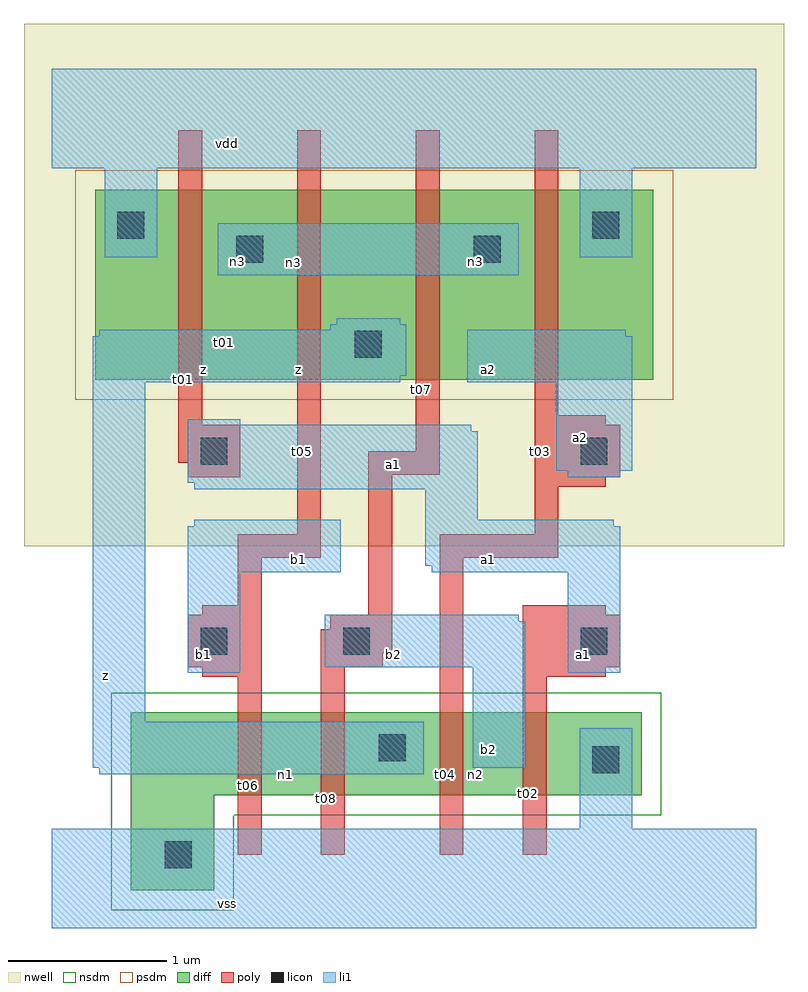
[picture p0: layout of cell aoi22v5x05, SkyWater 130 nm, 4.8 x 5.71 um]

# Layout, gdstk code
import gdstk
lib = gdstk.Library(unit=1e-6, precision=5e-09)
def R(c, l, rs):  # rectangles x0, y0, x1, y1
    for r in rs: c.add(gdstk.rectangle(r[:2], r[2:], *l))
def A(c, l, x, y, w, h, nx, ny, dx, dy):  # array of equal rectangles
    R(c, l, [(x+i*dx, y+j*dy, x+i*dx+w, y+j*dy+h) for i in range(nx) for j in range(ny)])
nwell = (64, 20)
diff = (65, 20)
poly = (66, 20)
licon = (66, 44)
li1 = (67, 20)
nsdm = (93, 44)
psdm = (94, 20)

aoi22v5x05 = lib.new_cell('aoi22v5x05')
R(aoi22v5x05, nwell, [(-0.3,2.4,4.5,5.7)])
R(aoi22v5x05, diff, [(0.375,0.225,0.9,1.35), (0.375,0.825,3.6,1.35), (0.15,3.45,3.675,4.65)])
R(aoi22v5x05, poly, [(1.05,0.45,1.2,2.475), (1.575,0.45,1.725,1.875), (2.325,0.45,2.475,2.475), (2.85,0.45,3,2.025), (0.825,1.575,1.2,2.025), (2.85,1.575,3.375,2.025), (0.735,1.635,1.2,1.965), (1.575,1.635,1.965,1.875), (1.635,1.635,1.965,1.965), (2.85,1.635,3.465,1.965), (1.575,1.725,2.025,1.875), (1.635,1.725,2.025,1.965), (1.875,1.725,2.025,3), (1.05,2.325,1.575,2.475), (1.425,2.325,1.575,5.025), (2.325,2.325,3.075,2.475), (2.925,2.325,3.075,5.025), (2.925,2.775,3.375,3.225), (0.735,2.835,1.065,3.165), (2.925,2.835,3.465,3.165), (1.875,2.85,2.325,3), (2.175,2.85,2.325,5.025), (0.675,2.925,1.065,3.165), (0.675,2.925,0.825,5.025)])
R(aoi22v5x05, licon, [(0.59,0.365,0.76,0.535), (3.29,0.965,3.46,1.135), (1.94,1.04,2.11,1.21), (0.815,1.715,0.985,1.885), (1.715,1.715,1.885,1.885), (3.215,1.715,3.385,1.885), (0.815,2.915,0.985,3.085), (3.215,2.915,3.385,3.085), (1.79,3.59,1.96,3.76), (1.04,4.19,1.21,4.36), (2.54,4.19,2.71,4.36), (0.29,4.34,0.46,4.51), (3.29,4.34,3.46,4.51)])
A(aoi22v5x05, li1, 2.575, 1.035, 0.25, 0.33, 1, 3, 0, 1.2)
A(aoi22v5x05, li1, 0.775, 1.635, 0.25, 0.33, 3, 1, 1.2, 0)
A(aoi22v5x05, li1, 1.375, 2.235, 0.25, 0.33, 1, 3, 0, 0.6)
R(aoi22v5x05, li1, [(-0.125,-0.015,4.325,0.615), (-0.125,-0.015,4.325,0.615), (3.21,-0.015,3.54,1.25), (0.175,0.96,0.465,3.765), (0.175,0.96,2.225,1.29), (0.135,1,0.465,3.725), (0.135,1,2.225,1.29), (2.535,1,2.825,1.965), (2.535,1,2.865,1.925), (0.135,1.075,0.465,3.125), (0.735,1.6,1.065,2.525), (0.775,1.6,1.065,2.565), (3.135,1.6,3.425,2.565), (3.135,1.6,3.465,2.525), (1.6,1.635,2.865,1.925), (1.6,1.635,2.825,1.965), (0.735,2.235,1.7,2.525), (0.775,2.235,1.7,2.565), (2.275,2.235,2.565,3.125), (2.275,2.235,2.525,3.165), (2.275,2.235,3.465,2.525), (2.275,2.235,3.425,2.565), (2.235,2.275,2.525,3.165), (2.235,2.275,2.565,3.125), (2.235,2.275,3.465,2.525), (2.235,2.275,3.425,2.565), (0.775,2.76,1.065,3.2), (0.775,2.76,2.525,3.165), (0.775,2.76,2.565,3.125), (0.735,2.8,1.065,3.2), (0.735,2.8,2.565,3.125), (0.735,2.8,2.525,3.165), (1.975,2.835,2.225,3.165), (3.135,2.835,3.465,3.765), (3.06,2.875,3.5,3.765), (3.06,2.875,3.5,3.765), (3.06,2.875,3.54,3.725), (3.135,2.875,3.465,3.725), (0.135,3.435,2.075,3.725), (0.175,3.435,2.075,3.765), (0.775,3.435,1.025,3.765), (1.635,3.435,2.075,3.8), (1.675,3.435,2.075,3.84), (2.5,3.435,3.54,3.725), (2.5,3.435,3.54,3.725), (2.5,3.435,3.5,3.765), (0.135,3.475,2.115,3.725), (0.175,3.475,2.115,3.765), (1.635,3.475,2.115,3.8), (0.925,4.11,2.825,4.44), (0.21,4.225,0.54,5.415), (3.21,4.225,3.54,5.415), (-0.125,4.785,4.325,5.415), (-0.125,4.785,4.325,5.415)])
R(aoi22v5x05, nsdm, [(0.25,0.1,1.025,1.475), (0.375,0.225,0.825,1.35), (0.375,0.225,0.825,1.35), (0.45,0.225,0.9,1.35), (0.45,0.225,0.9,1.35), (0.53,0.305,0.82,0.595), (0.25,0.7,3.725,1.475), (1.275,0.825,1.575,1.35), (1.275,0.825,1.575,1.35), (1.875,0.825,2.175,1.35), (1.875,0.825,2.175,1.35), (2.475,0.825,2.775,1.35), (2.475,0.825,2.775,1.35), (3.15,0.825,3.6,1.35), (3.15,0.825,3.6,1.35), (3.23,0.905,3.52,1.195), (1.88,0.98,2.17,1.27)])
R(aoi22v5x05, psdm, [(0.025,3.325,3.8,4.775), (0.15,3.45,0.6,4.65), (0.15,3.45,0.6,4.65), (0.975,3.45,1.275,4.65), (0.975,3.45,1.275,4.65), (1.725,3.45,2.025,4.65), (1.725,3.45,2.025,4.65), (2.475,3.45,2.775,4.65), (2.475,3.45,2.775,4.65), (3.225,3.45,3.675,4.65), (3.225,3.45,3.675,4.65), (1.73,3.53,2.02,3.82), (0.98,4.13,1.27,4.42), (2.48,4.13,2.77,4.42), (0.23,4.28,0.52,4.57), (3.23,4.28,3.52,4.57)])
aoi22v5x05.add(gdstk.Label('t06', (1.115,0.89), layer=93, texttype=44))
aoi22v5x05.add(gdstk.Label('t01', (0.965,3.685), layer=94, texttype=20))
aoi22v5x05.add(gdstk.Label('n1', (1.18,0.955), layer=65, texttype=20))
aoi22v5x05.add(gdstk.Label('t01', (1.03,3.75), layer=65, texttype=20))
aoi22v5x05.add(gdstk.Label('n2', (2.55,0.955), layer=93, texttype=44))
aoi22v5x05.add(gdstk.Label('n1', (1.35,0.955), layer=93, texttype=44))
aoi22v5x05.add(gdstk.Label('n3', (2.55,4.2), layer=94, texttype=20))
aoi22v5x05.add(gdstk.Label('n3', (1.05,4.2), layer=94, texttype=20))
aoi22v5x05.add(gdstk.Label('t01', (0.71,3.45), layer=66, texttype=20))
aoi22v5x05.add(gdstk.Label('t06', (1.085,0.955), layer=66, texttype=20))
aoi22v5x05.add(gdstk.Label('t05', (1.46,3), layer=66, texttype=20))
aoi22v5x05.add(gdstk.Label('t08', (1.61,0.805), layer=66, texttype=20))
aoi22v5x05.add(gdstk.Label('t04', (2.36,0.955), layer=66, texttype=20))
aoi22v5x05.add(gdstk.Label('t07', (2.21,3.39), layer=66, texttype=20))
aoi22v5x05.add(gdstk.Label('t02', (2.885,0.84), layer=66, texttype=20))
aoi22v5x05.add(gdstk.Label('t03', (2.96,3), layer=66, texttype=20))
aoi22v5x05.add(gdstk.Label('n3', (2.58,4.23), layer=66, texttype=44))
aoi22v5x05.add(gdstk.Label('n3', (1.08,4.23), layer=66, texttype=44))
aoi22v5x05.add(gdstk.Label('z', (0.215,1.585), layer=67, texttype=20))
aoi22v5x05.add(gdstk.Label('b1', (0.835,1.715), layer=67, texttype=20))
aoi22v5x05.add(gdstk.Label('z', (0.835,3.515), layer=67, texttype=20))
aoi22v5x05.add(gdstk.Label('b2', (2.035,1.715), layer=67, texttype=20))
aoi22v5x05.add(gdstk.Label('b1', (1.435,2.315), layer=67, texttype=20))
aoi22v5x05.add(gdstk.Label('a1', (1.435,2.915), layer=67, texttype=20))
aoi22v5x05.add(gdstk.Label('a1', (2.035,2.915), layer=67, texttype=20))
aoi22v5x05.add(gdstk.Label('z', (1.435,3.515), layer=67, texttype=20))
aoi22v5x05.add(gdstk.Label('b2', (2.635,1.115), layer=67, texttype=20))
aoi22v5x05.add(gdstk.Label('a1', (2.635,2.315), layer=67, texttype=20))
aoi22v5x05.add(gdstk.Label('a2', (2.635,3.515), layer=67, texttype=20))
aoi22v5x05.add(gdstk.Label('n3', (1.4,4.19), layer=67, texttype=20))
aoi22v5x05.add(gdstk.Label('vss', (0.985,0.14), layer=67, texttype=20))
aoi22v5x05.add(gdstk.Label('a1', (3.235,1.715), layer=67, texttype=20))
aoi22v5x05.add(gdstk.Label('a2', (3.215,3.085), layer=67, texttype=20))
aoi22v5x05.add(gdstk.Label('vdd', (0.985,4.94), layer=67, texttype=20))

lib.write_gds('aoi22v5x05.gds')
